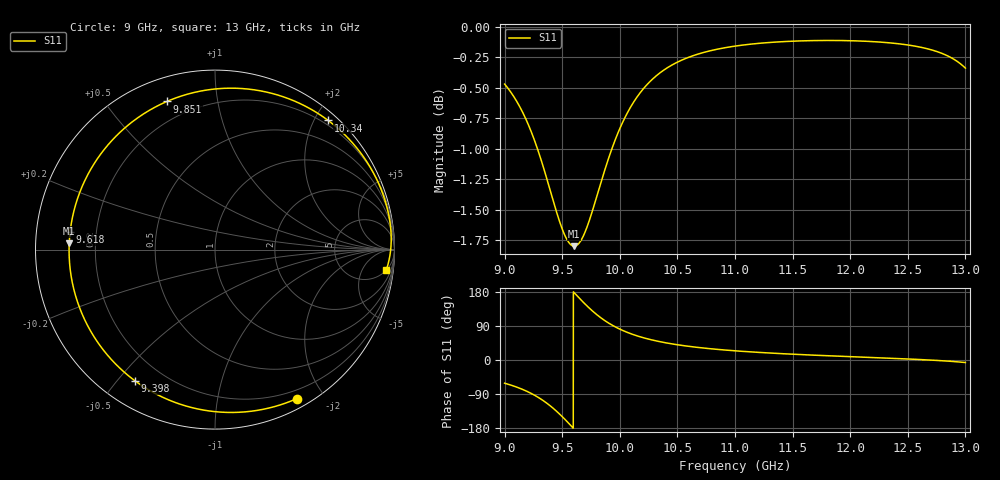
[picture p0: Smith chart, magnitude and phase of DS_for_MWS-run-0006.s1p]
! TOUCHSTONE file generated by CST DESIGN STUDIO
! Date and time: Tue Feb  4 18:12:24 2025
! Project name: C:\Work\MatlabApps\UnitCellOptimizationMatlab\CST\unitcell.cst
! Tree item: Tasks\Sweep1\SPara1\S-Parameters
! Header version: 2024
! Port assignment regex: !\s*Touchstone port\s*([0-9]+)\s*=\s*(CST MWS port|CST DES external port|CST DES block port)\s*(.+)\s* \(\"(.*)\"\)(\s*mode\s*([0-9]+))?.*
! Touchstone port assignment:
! Touchstone port 1 = CST DES external port 1 ("")
# GHz S MA R 50
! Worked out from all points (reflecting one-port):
!   4001 points, 9 GHz to 13 GHz, reference 50 ohm
!   lowest |S11| = -1.8 dB at 9.604 GHz (marker M1), VSWR 9.69, Z = 5.16 + j1.04 ohm
!   phase of S11 starts at -61 deg and turns -305 deg over the sweep
!   S11 on the Smith chart (normalised r, x): 9 GHz: 0.10, -1.69; 9.398 GHz: 0.10, -0.56; 9.618 GHz: 0.10, +0.06; 9.851 GHz: 0.11, +0.72; 10.34 GHz: 0.13, +2.20; 13 GHz: 5, -15
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9  0.9473 -61.2
9.12  0.9293 -73.2
9.242  0.9029 -90.0
9.325  0.8794 -105.1
9.398  0.8562 -121.4
9.448  0.8405 -134.4
9.5  0.8263 -149.4
9.554  0.8162 -166.2
9.604  0.813 177.6
9.618  0.8132 173.0
9.675  0.8193 154.9
9.739  0.8339 135.8
9.794  0.8501 121.2
9.851  0.8678 107.9
9.92  0.8881 94.3
10  0.9083 81.5
10.076  0.9238 71.6
10.157  0.9368 63.0
10.244  0.9476 55.5
10.341  0.9567 48.8
10.5  0.967 40.2
10.72  0.9757 31.8
11  0.9818 24.2
11.5  0.9864 15.3
12  0.9868 8.8
12.5  0.9828 2.7
12.78  0.9757 -1.6
13  0.9616 -6.7
